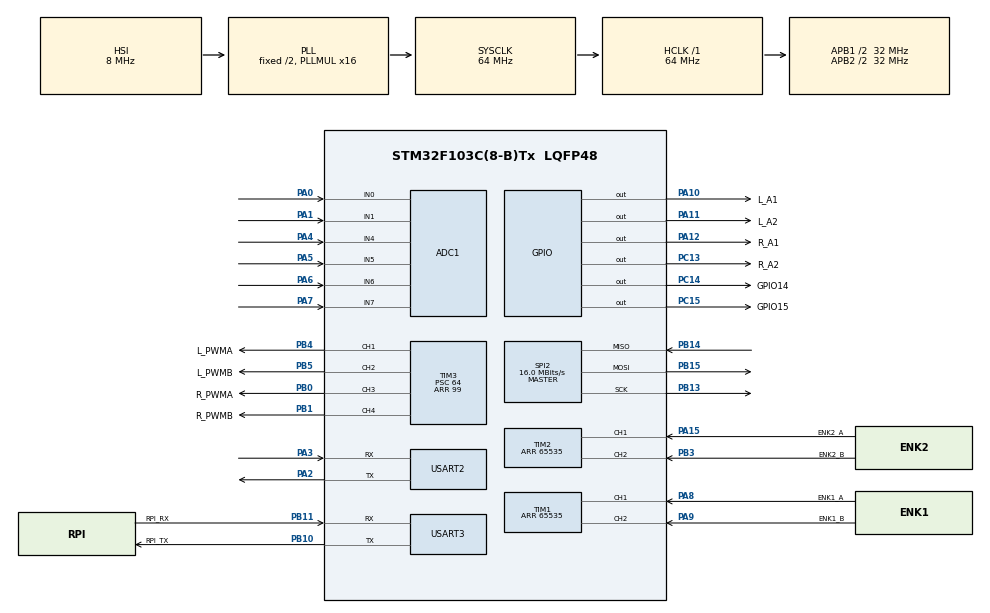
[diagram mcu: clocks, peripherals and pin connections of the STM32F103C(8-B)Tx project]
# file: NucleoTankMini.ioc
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ADC1.Channel-16\#ChannelRegularConversion=ADC_CHANNEL_5
ADC1.Channel-26\#ChannelRegularConversion=ADC_CHANNEL_6
ADC1.ContinuousConvMode=ENABLE
ADC1.DataAlign=ADC_DATAALIGN_RIGHT
ADC1.DiscontinuousConvMode=DISABLE
ADC1.EnableAnalogWatchDog=false
ADC1.EnableRegularConversion=ENABLE
ADC1.ExternalTrigConv=ADC_SOFTWARE_START
ADC1.InjNumberOfConversion=0
ADC1.NbrOfConversion=2
ADC1.NbrOfConversionFlag=1
ADC1.Rank-16\#ChannelRegularConversion=1
ADC1.Rank-26\#ChannelRegularConversion=2
ADC1.SamplingTime-16\#ChannelRegularConversion=ADC_SAMPLETIME_239CYCLES_5
ADC1.SamplingTime-26\#ChannelRegularConversion=ADC_SAMPLETIME_1CYCLE_5
ADC1.ScanConvMode=ADC_SCAN_ENABLE
ADC1.master=1
Dma.ADC1.0.Direction=DMA_PERIPH_TO_MEMORY
Dma.ADC1.0.Instance=DMA1_Channel1
Dma.ADC1.0.MemDataAlignment=DMA_MDATAALIGN_HALFWORD
Dma.ADC1.0.MemInc=DMA_MINC_ENABLE
Dma.ADC1.0.Mode=DMA_CIRCULAR
Dma.ADC1.0.PeriphDataAlignment=DMA_PDATAALIGN_HALFWORD
Dma.ADC1.0.PeriphInc=DMA_PINC_DISABLE
Dma.ADC1.0.Priority=DMA_PRIORITY_MEDIUM
Dma.Request0=ADC1
FREERTOS.MEMORY_ALLOCATION=0
FREERTOS.Tasks01=defaultTask,0,128,StartDefaultTask,Default,NULL,Dynamic,NULL,NULL;Task02,0,128,TaskFunction02,Default,NULL,Dynamic,NULL,NULL;UartSendTask,-1,128,UartSendTaskFunction,Default,NULL,Dynamic,NULL,NULL
FREERTOS.configCHECK_FOR_STACK_OVERFLOW=1
FREERTOS.configMINIMAL_STACK_SIZE=128
FREERTOS.configTOTAL_HEAP_SIZE=4096
FREERTOS.configUSE_TIMERS=0
Mcu.Family=STM32F1
Mcu.Name=STM32F103C(8-B)Tx
Mcu.Package=LQFP48
NVIC.DMA1_Channel1_IRQn=true\:5\:0\:false\:false\:true\:true
NVIC.PriorityGroup=NVIC_PRIORITYGROUP_4
NVIC.SPI2_IRQn=true\:0\:0\:false\:false\:true\:false
NVIC.TIM4_IRQn=true\:0\:0\:false\:false\:true\:false
NVIC.TimeBase=TIM4_IRQn
NVIC.TimeBaseIP=TIM4
NVIC.USART2_IRQn=true\:5\:0\:false\:false\:true\:true
NVIC.USART3_IRQn=true\:5\:0\:false\:false\:true\:true
PA0-WKUP.Signal=ADCx_IN0
PA1.Signal=ADCx_IN1
PA10.GPIO_Label=L_A1
PA10.Signal=GPIO_Output
PA11.GPIO_Label=L_A2
PA11.Signal=GPIO_Output
PA12.GPIO_Label=R_A1
PA12.Signal=GPIO_Output
PA15.GPIO_Label=ENK2_A
PA15.Signal=S_TIM2_CH1_ETR
PA2.Mode=Asynchronous
PA2.Signal=USART2_TX
PA3.Mode=Asynchronous
PA3.Signal=USART2_RX
PA4.Signal=ADCx_IN4
PA5.Signal=ADCx_IN5
PA6.Signal=ADCx_IN6
PA7.Signal=ADCx_IN7
PA8.GPIO_Label=ENK1_A
PA8.Signal=S_TIM1_CH1
PA9.GPIO_Label=ENK1_B
PA9.Signal=S_TIM1_CH2
PB0.GPIO_Label=R_PWMA
PB0.Signal=S_TIM3_CH3
PB1.GPIO_Label=R_PWMB
PB1.Signal=S_TIM3_CH4
PB10.GPIO_Label=RPI_TX
PB10.Mode=Asynchronous
PB10.Signal=USART3_TX
PB11.GPIO_Label=RPI_RX
PB11.Mode=Asynchronous
PB11.Signal=USART3_RX
PB13.Mode=Full_Duplex_Master
PB13.Signal=SPI2_SCK
PB14.Mode=Full_Duplex_Master
PB14.Signal=SPI2_MISO
PB15.Mode=Full_Duplex_Master
PB15.Signal=SPI2_MOSI
PB3.GPIO_Label=ENK2_B
PB3.Signal=S_TIM2_CH2
PB4.GPIO_Label=L_PWMA
PB4.Signal=S_TIM3_CH1
PB5.GPIO_Label=L_PWMB
PB5.Signal=S_TIM3_CH2
PC13-TAMPER-RTC.GPIO_Label=R_A2
PC13-TAMPER-RTC.Signal=GPIO_Output
PC14-OSC32_IN.GPIO_Label=GPIO14
PC14-OSC32_IN.Signal=GPIO_Output
PC15-OSC32_OUT.GPIO_Label=GPIO15
PC15-OSC32_OUT.Signal=GPIO_Output
ProjectManager.HeapSize=0x200
ProjectManager.StackSize=0x400
ProjectManager.TargetToolchain=SW4STM32
RCC.ADCPresc=RCC_ADCPCLK2_DIV4
RCC.AHBFreq_Value=64000000
RCC.APB1CLKDivider=RCC_HCLK_DIV2
RCC.APB1Freq_Value=32000000
RCC.APB1TimFreq_Value=64000000
RCC.APB2CLKDivider=RCC_HCLK_DIV2
RCC.APB2Freq_Value=32000000
RCC.APB2TimFreq_Value=64000000
RCC.HCLKFreq_Value=64000000
RCC.PLLMUL=RCC_PLL_MUL16
RCC.SYSCLKFreq_VALUE=64000000
RCC.SYSCLKSource=RCC_SYSCLKSOURCE_PLLCLK
RCC.USBFreq_Value=64000000
SH.ADCx_IN0.0=ADC1_IN0,IN0
SH.ADCx_IN1.0=ADC1_IN1,IN1
SH.ADCx_IN4.0=ADC1_IN4,IN4
SH.ADCx_IN5.0=ADC1_IN5,IN5
SH.ADCx_IN6.0=ADC1_IN6,IN6
SH.ADCx_IN7.0=ADC1_IN7,IN7
SH.S_TIM1_CH1.0=TIM1_CH1,Encoder_Interface
SH.S_TIM1_CH2.0=TIM1_CH2,Encoder_Interface
SH.S_TIM2_CH1_ETR.0=TIM2_CH1,Encoder_Interface
SH.S_TIM2_CH2.0=TIM2_CH2,Encoder_Interface
SH.S_TIM3_CH1.0=TIM3_CH1,PWM Generation1 CH1
SH.S_TIM3_CH2.0=TIM3_CH2,PWM Generation2 CH2
SH.S_TIM3_CH3.0=TIM3_CH3,PWM Generation3 CH3
SH.S_TIM3_CH4.0=TIM3_CH4,PWM Generation4 CH4
SPI2.CalculateBaudRate=16.0 MBits/s
SPI2.Direction=SPI_DIRECTION_2LINES
SPI2.Mode=SPI_MODE_MASTER
SPI2.VirtualType=VM_MASTER
TIM1.EncoderMode=TIM_ENCODERMODE_TI12
TIM1.IC1Polarity=TIM_ICPOLARITY_RISING
TIM1.IC2Polarity=TIM_ICPOLARITY_RISING
TIM1.Period=65535
TIM2.IC1Polarity=TIM_ICPOLARITY_RISING
TIM2.IC2Polarity=TIM_ICPOLARITY_RISING
TIM2.Period=65535
TIM3.Channel-PWM\ Generation1\ CH1=TIM_CHANNEL_1
TIM3.Channel-PWM\ Generation2\ CH2=TIM_CHANNEL_2
TIM3.Channel-PWM\ Generation3\ CH3=TIM_CHANNEL_3
TIM3.Channel-PWM\ Generation4\ CH4=TIM_CHANNEL_4
TIM3.Period=99
TIM3.Prescaler=64
USART2.VirtualMode=VM_ASYNC
USART3.VirtualMode=VM_ASYNC
VP_FREERTOS_VS_ENABLE.Mode=Enabled
VP_SYS_VS_ND.Mode=No_Debug
VP_SYS_VS_tim4.Mode=TIM4
board=NucleoTankMini

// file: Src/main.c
/**
  ******************************************************************************
  * File Name          : main.c
  * Description        : Main program body
  ******************************************************************************
  * This notice applies to any and all portions of this file
  * that are not between comment pairs USER CODE BEGIN and
  * USER CODE END. Other portions of this file, whether
  * inserted by the user or by software development tools
  * are owned by their respective copyright owners.
  *
  * Copyright (c) 2017 STMicroelectronics International N.V.
  * All rights reserved.
  *
  * Redistribution and use in source and binary forms, with or without
  * modification, are permitted, provided that the following conditions are met:
  *
  * 1. Redistribution of source code must retain the above copyright notice,
  *    this list of conditions and the following disclaimer.
  * 2. Redistributions in binary form must reproduce the above copyright notice,
  *    this list of conditions and the following disclaimer in the documentation
  *    and/or other materials provided with the distribution.
  * 3. Neither the name of STMicroelectronics nor the names of other
  *    contributors to this software may be used to endorse or promote products
  *    derived from this software without specific written permission.
  * 4. This software, including modifications and/or derivative works of this
  *    software, must execute solely and exclusively on microcontroller or
  *    microprocessor devices manufactured by or for STMicroelectronics.
  * 5. Redistribution and use of this software other than as permitted under
  *    this license is void and will automatically terminate your rights under
  *    this license.
  *
  * THIS SOFTWARE IS PROVIDED BY STMICROELECTRONICS AND CONTRIBUTORS "AS IS"
  * AND ANY EXPRESS, IMPLIED OR STATUTORY WARRANTIES, INCLUDING, BUT NOT
  * LIMITED TO, THE IMPLIED WARRANTIES OF MERCHANTABILITY, FITNESS FOR A
  * PARTICULAR PURPOSE AND NON-INFRINGEMENT OF THIRD PARTY INTELLECTUAL PROPERTY
  * RIGHTS ARE DISCLAIMED TO THE FULLEST EXTENT PERMITTED BY LAW. IN NO EVENT
  * SHALL STMICROELECTRONICS OR CONTRIBUTORS BE LIABLE FOR ANY DIRECT, INDIRECT,
  * INCIDENTAL, SPECIAL, EXEMPLARY, OR CONSEQUENTIAL DAMAGES (INCLUDING, BUT NOT
  * LIMITED TO, PROCUREMENT OF SUBSTITUTE GOODS OR SERVICES; LOSS OF USE, DATA,
  * OR PROFITS; OR BUSINESS INTERRUPTION) HOWEVER CAUSED AND ON ANY THEORY OF
  * LIABILITY, WHETHER IN CONTRACT, STRICT LIABILITY, OR TORT (INCLUDING
  * NEGLIGENCE OR OTHERWISE) ARISING IN ANY WAY OUT OF THE USE OF THIS SOFTWARE,
  * EVEN IF ADVISED OF THE POSSIBILITY OF SUCH DAMAGE.
  *
  ******************************************************************************
  */
#include "main.h"
#include "stm32f1xx_hal.h"
#include "cmsis_os.h"
#include "adc.h"
#include "dma.h"
#include "spi.h"
#include "tim.h"
#include "usart.h"
#include "gpio.h"

/* USER CODE BEGIN Includes */
#include "motors.h"
#include "uart_structures.h"
/* USER CODE END Includes */

/* USER CODE BEGIN PV */
/* Private variables ---------------------------------------------------------*/
uint8_t recByte_u2, recNumber_u2, recByte_u3;
uint8_t state_u2 = 1, frameCplt, state_u3 = 1;

To_STM_Motor_Speed s1;
char data[2];
/* USER CODE END PV */

void SystemClock_Config(void);
void MX_FREERTOS_Init(void);

/* USER CODE BEGIN PFP */
/* Private function prototypes -----------------------------------------------*/
void HAL_UART_RxCpltCallback(UART_HandleTypeDef *huart) {
	if(huart->Instance == huart2.Instance){
		switch(state_u2){

		/*
		 * Wzór ramki: [ : | nr ramki | dane | @ ]
		 * */
		case 1:
			if(recByte_u2 == ':'){
				state_u2 = 2;
			}
			HAL_UART_Receive_IT(&huart2, &recByte_u2, 1);
			break;
		case 2:
			recNumber_u2 = recByte_u2;
			// wybor numeru ramki danych i odbior do struktury
			switch(recByte_u2){
			case 1:
				HAL_UART_Receive_IT(&huart2,(uint8_t*) &s1, sizeof(s1));
				state_u2 = 3;
				break;
			case 2:
				HAL_UART_Receive_IT(&huart2,(uint8_t*) &s1, sizeof(s1));
				state_u2 = 3;
				break;
			case '1':
				HAL_UART_Receive_IT(&huart2,(uint8_t*) data, sizeof(data));
				state_u2 = 3;
				break;
			default:
				// odebrnao cos innego - powrot do oczekiwania na pierwszy znak ramki
				HAL_UART_Receive_IT(&huart2, &recByte_u2, 1);
				break;
			}
			break;

		case 3:
			// odbierz znak koñca / crc
			HAL_UART_Receive_IT(&huart2, &recByte_u2, 1);
			state_u2=4;
			break;
		case 4:
			if(recByte_u2 == '@'){
				// ustaw flage
				frameCplt = 1;
			}
			HAL_UART_Receive_IT(&huart2, &recByte_u2, 1);
			state_u2 = 1;
			break;
		default:
			HAL_UART_Receive_IT(&huart2, &recByte_u2, 1);
			break;

		}

	}

	if(huart->Instance == huart3.Instance){

	}

}

void HAL_UART_TxCpltCallback(UART_HandleTypeDef *huart){

}
/* USER CODE END PFP */

int main(void)
{

  /* MCU Configuration----------------------------------------------------------*/

  /* Reset of all peripherals, Initializes the Flash interface and the Systick. */
  HAL_Init();

  /* Configure the system clock */
  SystemClock_Config();

  /* Initialize all configured peripherals */
  MX_GPIO_Init();
  MX_DMA_Init();
  MX_ADC1_Init();
  MX_SPI2_Init();
  MX_TIM1_Init();
  MX_TIM2_Init();
  MX_TIM3_Init();
  MX_USART2_UART_Init();
  MX_USART3_UART_Init();

  /* USER CODE BEGIN 2 */

  HAL_TIM_Encoder_Start(&htim1, TIM_CHANNEL_ALL);
  HAL_TIM_Encoder_Start(&htim2, TIM_CHANNEL_ALL);

  motor_Init_With_Correction(&Left_F);
  motor_Init(&Left_R);
  motor_Init_With_Correction(&Right_F);
  motor_Init(&Right_R);

  HAL_TIM_PWM_Start(&htim3, TIM_CHANNEL_1);
  HAL_TIM_PWM_Start(&htim3, TIM_CHANNEL_2);
  HAL_TIM_PWM_Start(&htim3, TIM_CHANNEL_3);
  HAL_TIM_PWM_Start(&htim3, TIM_CHANNEL_4);

  TIM3->CCR1 = 30;
  TIM3->CCR2 = 30;
  TIM3->CCR3 = 30;
  TIM3->CCR4 = 30;

  HAL_UART_Receive_IT(&huart2, &recByte_u2, 1);
  HAL_UART_Receive_IT(&huart3, &recByte_u3, 1);

  /* USER CODE END 2 */

  /* Call init function for freertos objects (in freertos.c) */
  MX_FREERTOS_Init();

  /* Start scheduler */
  osKernelStart();

  /* We should never get here as control is now taken by the scheduler */

  /* Infinite loop */
  while (1)
  {

  }

}

/** System Clock Configuration
*/
void SystemClock_Config(void)
{

  RCC_OscInitTypeDef RCC_OscInitStruct;
  RCC_ClkInitTypeDef RCC_ClkInitStruct;
  RCC_PeriphCLKInitTypeDef PeriphClkInit;

    /**Initializes the CPU, AHB and APB busses clocks
    */
  RCC_OscInitStruct.OscillatorType = RCC_OSCILLATORTYPE_HSI;
  RCC_OscInitStruct.HSIState = RCC_HSI_ON;
  RCC_OscInitStruct.HSICalibrationValue = 16;
  RCC_OscInitStruct.PLL.PLLState = RCC_PLL_ON;
  RCC_OscInitStruct.PLL.PLLSource = RCC_PLLSOURCE_HSI_DIV2;
  RCC_OscInitStruct.PLL.PLLMUL = RCC_PLL_MUL16;
  if (HAL_RCC_OscConfig(&RCC_OscInitStruct) != HAL_OK)
  {
    _Error_Handler(__FILE__, __LINE__);
  }

    /**Initializes the CPU, AHB and APB busses clocks
    */
  RCC_ClkInitStruct.ClockType = RCC_CLOCKTYPE_HCLK|RCC_CLOCKTYPE_SYSCLK
                              |RCC_CLOCKTYPE_PCLK1|RCC_CLOCKTYPE_PCLK2;
  RCC_ClkInitStruct.SYSCLKSource = RCC_SYSCLKSOURCE_PLLCLK;
  RCC_ClkInitStruct.AHBCLKDivider = RCC_SYSCLK_DIV1;
  RCC_ClkInitStruct.APB1CLKDivider = RCC_HCLK_DIV2;
  RCC_ClkInitStruct.APB2CLKDivider = RCC_HCLK_DIV2;

  if (HAL_RCC_ClockConfig(&RCC_ClkInitStruct, FLASH_LATENCY_2) != HAL_OK)
  {
    _Error_Handler(__FILE__, __LINE__);
  }

  PeriphClkInit.PeriphClockSelection = RCC_PERIPHCLK_ADC;
  PeriphClkInit.AdcClockSelection = RCC_ADCPCLK2_DIV4;
  if (HAL_RCCEx_PeriphCLKConfig(&PeriphClkInit) != HAL_OK)
  {
    _Error_Handler(__FILE__, __LINE__);
  }

    /**Configure the Systick interrupt time
    */
  HAL_SYSTICK_Config(HAL_RCC_GetHCLKFreq()/1000);

    /**Configure the Systick
    */
  HAL_SYSTICK_CLKSourceConfig(SYSTICK_CLKSOURCE_HCLK);

  /* SysTick_IRQn interrupt configuration */
  HAL_NVIC_SetPriority(SysTick_IRQn, 15, 0);
}

void HAL_TIM_PeriodElapsedCallback(TIM_HandleTypeDef *htim)
{
  if (htim->Instance == TIM4) {
    HAL_IncTick();
  }
}

void _Error_Handler(char * file, int line)
{
  while(1)
  {
  }
}

/************************ (C) COPYRIGHT STMicroelectronics *****END OF FILE****/

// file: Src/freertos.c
/**
  ******************************************************************************
  * File Name          : freertos.c
  * Description        : Code for freertos applications
  ******************************************************************************
  * This notice applies to any and all portions of this file
  * that are not between comment pairs USER CODE BEGIN and
  * USER CODE END. Other portions of this file, whether
  * inserted by the user or by software development tools
  * are owned by their respective copyright owners.
  *
  * Copyright (c) 2017 STMicroelectronics International N.V.
  * All rights reserved.
  *
  * Redistribution and use in source and binary forms, with or without
  * modification, are permitted, provided that the following conditions are met:
  *
  * 1. Redistribution of source code must retain the above copyright notice,
  *    this list of conditions and the following disclaimer.
  * 2. Redistributions in binary form must reproduce the above copyright notice,
  *    this list of conditions and the following disclaimer in the documentation
  *    and/or other materials provided with the distribution.
  * 3. Neither the name of STMicroelectronics nor the names of other
  *    contributors to this software may be used to endorse or promote products
  *    derived from this software without specific written permission.
  * 4. This software, including modifications and/or derivative works of this
  *    software, must execute solely and exclusively on microcontroller or
  *    microprocessor devices manufactured by or for STMicroelectronics.
  * 5. Redistribution and use of this software other than as permitted under
  *    this license is void and will automatically terminate your rights under
  *    this license.
  *
  * THIS SOFTWARE IS PROVIDED BY STMICROELECTRONICS AND CONTRIBUTORS "AS IS"
  * AND ANY EXPRESS, IMPLIED OR STATUTORY WARRANTIES, INCLUDING, BUT NOT
  * LIMITED TO, THE IMPLIED WARRANTIES OF MERCHANTABILITY, FITNESS FOR A
  * PARTICULAR PURPOSE AND NON-INFRINGEMENT OF THIRD PARTY INTELLECTUAL PROPERTY
  * RIGHTS ARE DISCLAIMED TO THE FULLEST EXTENT PERMITTED BY LAW. IN NO EVENT
  * SHALL STMICROELECTRONICS OR CONTRIBUTORS BE LIABLE FOR ANY DIRECT, INDIRECT,
  * INCIDENTAL, SPECIAL, EXEMPLARY, OR CONSEQUENTIAL DAMAGES (INCLUDING, BUT NOT
  * LIMITED TO, PROCUREMENT OF SUBSTITUTE GOODS OR SERVICES; LOSS OF USE, DATA,
  * OR PROFITS; OR BUSINESS INTERRUPTION) HOWEVER CAUSED AND ON ANY THEORY OF
  * LIABILITY, WHETHER IN CONTRACT, STRICT LIABILITY, OR TORT (INCLUDING
  * NEGLIGENCE OR OTHERWISE) ARISING IN ANY WAY OUT OF THE USE OF THIS SOFTWARE,
  * EVEN IF ADVISED OF THE POSSIBILITY OF SUCH DAMAGE.
  *
  ******************************************************************************
  */

#include "FreeRTOS.h"
#include "task.h"
#include "cmsis_os.h"

/* USER CODE BEGIN Includes */
#include "usart.h"
#include "motors.h"
#include "uart_structures.h"
/* USER CODE END Includes */

osThreadId defaultTaskHandle;
osThreadId Task02Handle;
osThreadId UartSendTaskHandle;

/* USER CODE BEGIN Variables */
extern uint8_t frameCplt;
extern To_STM_Motor_Speed s1;
extern char data[2];
char ramka[256];
int size;
int loop=40;

/* USER CODE END Variables */

void StartDefaultTask(void const * argument);
void TaskFunction02(void const * argument);
void UartSendTaskFunction(void const * argument);

void MX_FREERTOS_Init(void); /* (MISRA C 2004 rule 8.1) */

/* Hook prototypes */
void vApplicationStackOverflowHook(xTaskHandle xTask, signed char *pcTaskName);

/* USER CODE BEGIN 4 */
__weak void vApplicationStackOverflowHook(xTaskHandle xTask, signed char *pcTaskName)
{
   /* Run time stack overflow checking is performed if
   configCHECK_FOR_STACK_OVERFLOW is defined to 1 or 2. This hook function is
   called if a stack overflow is detected. */

}
/* USER CODE END 4 */

/* Init FreeRTOS */

void MX_FREERTOS_Init(void) {

  /* Create the thread(s) */
  /* definition and creation of defaultTask */
  osThreadDef(defaultTask, StartDefaultTask, osPriorityNormal, 0, 128);
  defaultTaskHandle = osThreadCreate(osThread(defaultTask), NULL);

  /* definition and creation of Task02 */
  osThreadDef(Task02, TaskFunction02, osPriorityNormal, 0, 128);
  Task02Handle = osThreadCreate(osThread(Task02), NULL);

  /* definition and creation of UartSendTask */
  osThreadDef(UartSendTask, UartSendTaskFunction, osPriorityBelowNormal, 0, 128);
  UartSendTaskHandle = osThreadCreate(osThread(UartSendTask), NULL);

}

/* StartDefaultTask function */
void StartDefaultTask(void const * argument)
{

  /* USER CODE BEGIN StartDefaultTask */
  /* Infinite loop */
  for(;;)
  {
	if (frameCplt){
		//HAL_GPIO_TogglePin(R_A2_GPIO_Port, R_A2_Pin);
		frameCplt=0;
		if( s1.turnON == 1){
			//if (s1.speedL >=-100 && s1.speedL <= 100){ Left_F.speed = s1.speedL; Left_R.speed = s1.speedL;}
			//if (s1.speedR >=-100 && s1.speedR <= 100){ Right_F.speed = s1.speedR; Right_R.speed = s1.speedR;}
		}
		else{
			/*Left_F.speed = 0;
			Left_R.speed = 0;
			Right_F.speed = 0;
			Right_R.speed = 0;
			*/

			Left_F.speed = (int)data[0];
			Left_R.speed = (int)data[0];
			Right_F.speed = (int)data[1];
			Right_R.speed = (int)data[1];

		}
	}
    osDelay(1);
  }
  /* USER CODE END StartDefaultTask */
}

/* TaskFunction02 function */
void TaskFunction02(void const * argument)
{
  /* USER CODE BEGIN TaskFunction02 */
  /* Infinite loop */
  for(;;)
  {

	  //Left_F.speed = -30;
	  //Left_R.speed = -40;
	  //Right_F.speed = -50;
	  //Right_R.speed = -60;
	  motor_Set_Speed_HW(&Left_F, &Left_R, &Right_F, &Right_R);

	  vTaskDelay(10);

    osDelay(1);
  }
  /* USER CODE END TaskFunction02 */
}

/* UartSendTaskFunction function */
void UartSendTaskFunction(void const * argument)
{
  /* USER CODE BEGIN UartSendTaskFunction */
  /* Infinite loop */
  for(;;)
  {
	  //const char tab[] =  "Testowa ramka danych do wyslania\n\r";
	  //size = sprintf(ramka, "VLF1:%d | VLR:%d | VRF:%d | VRR:%d\n\r", Left_F.speed, Left_R.speed, Right_F.speed, Right_R.speed  );
	  //size = sprintf(ramka, "MTzero:%d | MTsto:%d | LTzero:%d | LTminsto:%d\n\r", MTzero, MTsto, LTzero, LTminsto  );
	  //size = sprintf(ramka, "CCR1:%d | CCR2:%d | CCR3:%d | CCR4:%d | L_A1:%d | L_A2:%d | R_A1:%d | R_A2:%d\n\r",
		//	  (int)htim3.Instance->CCR1, (int)htim3.Instance->CCR2, (int)htim3.Instance->CCR3, (int)htim3.Instance->CCR1, L_A1, L_A2, R_A1, R_A2  );
	  size = sprintf(ramka, "CCR1:%d | CCR2:%d | CCR3:%d | CCR4:%d | VLF1:%d | VLR:%d | VRF:%d | VRR:%d\r\n",
	  			  (int)htim3.Instance->CCR1, (int)htim3.Instance->CCR2, (int)htim3.Instance->CCR3, (int)htim3.Instance->CCR4, Left_F.speed, Left_R.speed, Right_F.speed, Right_R.speed  );
	  HAL_UART_Transmit_IT(&huart2,(uint8_t*) ramka, size);
	  //HAL_UART_Transmit_IT(&huart2,(uint8_t*) tab, sizeof(tab));

	  vTaskDelay(500);

    osDelay(1);
  }
  /* USER CODE END UartSendTaskFunction */
}

/************************ (C) COPYRIGHT STMicroelectronics *****END OF FILE****/
